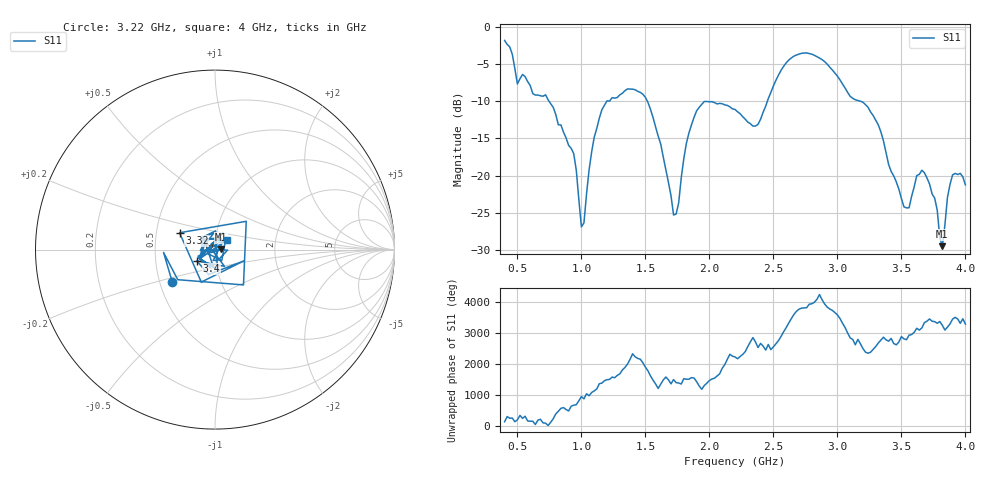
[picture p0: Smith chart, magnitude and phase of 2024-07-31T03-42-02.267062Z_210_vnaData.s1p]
!Created with skrf (http://scikit-rf.org).
# Hz S RI R 50.0
!freq ReS11 ImS11
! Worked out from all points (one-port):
!   181 points, 400 MHz to 4 GHz, reference 50 ohm
!   lowest |S11| = -29.4 dB at 3.82 GHz (marker M1), VSWR 1.07, Z = 53.5 + j0.0821 ohm
!   |S11| at or under -10 dB: 746.8 MHz to 1.199 GHz (451.8 MHz wide, 46.5 % of centre); 1.515 GHz to 2.453 GHz (938.4 MHz wide, 47.3 % of centre); 3.177 GHz to end of sweep
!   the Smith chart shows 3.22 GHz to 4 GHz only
!   S11 on the Smith chart (normalised r, x): 3.22 GHz: 0.58, -0.23; 3.32 GHz: 0.66, +0.13; 3.4 GHz: 0.81, -0.10; 4 GHz: 1.14, +0.13
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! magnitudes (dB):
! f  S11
! 400 MHz  -1.9
! 500 MHz  -7.7
! 720 MHz  -9.2
! 860 MHz  -14.2
! 940 MHz  -17.0
! 1 GHz  -26.9
! 1.14 GHz  -12.3
! 1.3 GHz  -9.2
! 1.5 GHz  -9.5
! 1.62 GHz  -15.8
! 1.72 GHz  -25.3
! 1.76 GHz  -23.6
! 1.82 GHz  -15.7
! 1.9 GHz  -11.3
! 2.2 GHz  -11.1
! 2.38 GHz  -13.1
! 2.66 GHz  -4.0
! 2.88 GHz  -4.4
! 3.1 GHz  -9.4
! 3.22 GHz  -10.5
! 3.32 GHz  -13.2
! 3.4 GHz  -18.5
! 3.56 GHz  -24.3
! 3.68 GHz  -19.6
! 3.76 GHz  -23.0
! 3.82 GHz  -29.4
! 3.9 GHz  -19.9
! 4 GHz  -21.2
